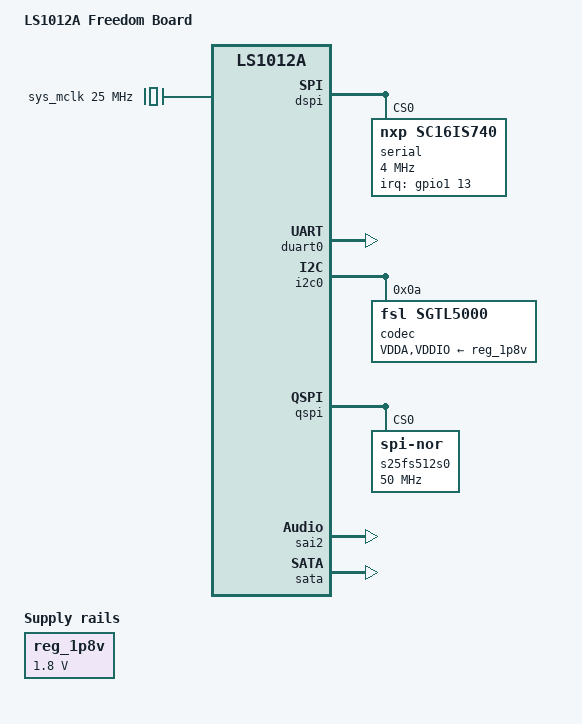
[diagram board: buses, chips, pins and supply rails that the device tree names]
// SPDX-License-Identifier: (GPL-2.0+ OR MIT)
/*
 * Device Tree file for Freescale LS1012A Freedom Board.
 *
 * Copyright 2016 Freescale Semiconductor, Inc.
 *
 */
/dts-v1/;

#include <dt-bindings/interrupt-controller/irq.h>
#include "fsl-ls1012a.dtsi"

/ {
	model = "LS1012A Freedom Board";
	compatible = "fsl,ls1012a-frdm", "fsl,ls1012a";

	sys_mclk: clock-mclk {
		compatible = "fixed-clock";
		#clock-cells = <0>;
		clock-frequency = <25000000>;
	};

	reg_1p8v: regulator-1p8v {
		compatible = "regulator-fixed";
		regulator-name = "1P8V";
		regulator-min-microvolt = <1800000>;
		regulator-max-microvolt = <1800000>;
		regulator-always-on;
	};

	sound {
		compatible = "simple-audio-card";
		simple-audio-card,format = "i2s";
		simple-audio-card,widgets =
			"Microphone", "Microphone Jack",
			"Headphone", "Headphone Jack",
			"Speaker", "Speaker Ext",
			"Line", "Line In Jack";
		simple-audio-card,routing =
			"MIC_IN", "Microphone Jack",
			"Microphone Jack", "Mic Bias",
			"LINE_IN", "Line In Jack",
			"Headphone Jack", "HP_OUT",
			"Speaker Ext", "LINE_OUT";

		simple-audio-card,cpu {
			sound-dai = <&sai2>;
			frame-master;
			bitclock-master;
		};

		simple-audio-card,codec {
			sound-dai = <&codec>;
			frame-master;
			bitclock-master;
			system-clock-frequency = <25000000>;
		};
	};
};

&dspi {
	bus-num = <0>;
	status = "okay";

	serial@0 {
		compatible = "nxp,sc16is740";
		reg = <0>;
		spi-max-frequency = <4000000>;
		clocks = <&sc16is7xx_clk>;
		interrupt-parent = <&gpio1>;
		interrupts = <13 IRQ_TYPE_EDGE_FALLING>;

		sc16is7xx_clk: clock-sc16is7xx {
			compatible = "fixed-clock";
			#clock-cells = <0>;
			clock-frequency = <24000000>;
		};
	};
};

&duart0 {
	status = "okay";
};

&i2c0 {
	status = "okay";

	codec: sgtl5000@a {
		#sound-dai-cells = <0>;
		compatible = "fsl,sgtl5000";
		reg = <0xa>;
		VDDA-supply = <&reg_1p8v>;
		VDDIO-supply = <&reg_1p8v>;
		clocks = <&sys_mclk>;
	};
};

&qspi {
	status = "okay";

	s25fs512s0: flash@0 {
		compatible = "jedec,spi-nor";
		#address-cells = <1>;
		#size-cells = <1>;
		spi-max-frequency = <50000000>;
		m25p,fast-read;
		reg = <0>;
		spi-rx-bus-width = <2>;
		spi-tx-bus-width = <2>;
	};
};

&sai2 {
	status = "okay";
};

&sata {
	status = "okay";
};
